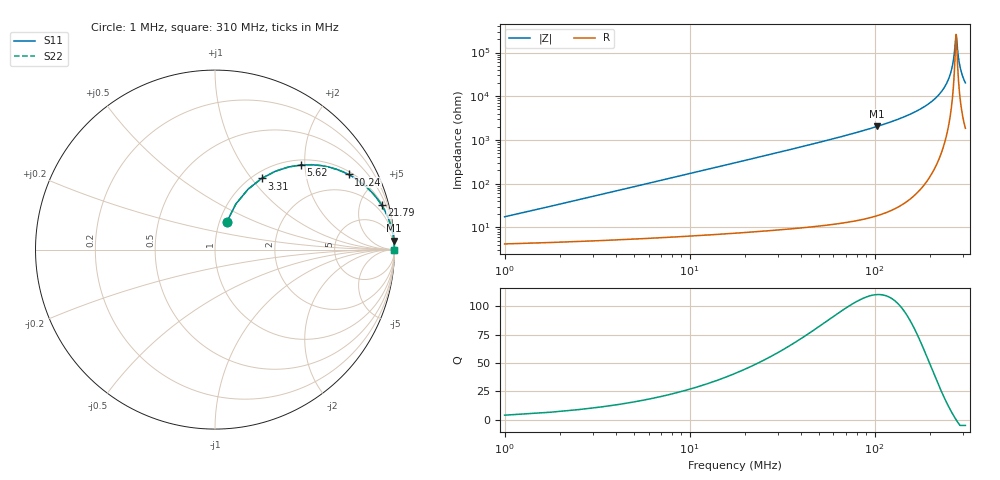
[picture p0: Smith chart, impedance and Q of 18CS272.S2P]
! Coilcraft 1812CS-272 Chip Inductor
! 31 July 2002
# MHZ S MA R 50
!Freq  MagS11  AngS11  MagS21  AngS21  MagS12  AngS12  MagS22  AngS22
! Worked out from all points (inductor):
!   403 points, 1 MHz to 310 MHz, reference 50 ohm
!   read as one part in series: L = 2.7 uH near 2.54 MHz
!   highest Q = 110 at 103.4 MHz (marker M1), where L = 3.14 uH
!   self-resonance near 275.9 MHz
!   S11 on the Smith chart (normalised r, x): 1 MHz: 1.08, +0.34; 3.31 MHz: 1.10, +1.12; 5.62 MHz: 1.11, +1.91; 10.24 MHz: 1.13, +3.48; 21.79 MHz: 1.16, +7.44; 310 MHz: open
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1  0.1655 66.9  0.9474 -9.2  0.9474 -9.2  0.1655 66.9
3.31  0.4736 56.8  0.8399 -28.1  0.8399 -28.1  0.4736 56.8
5.62  0.6717 44.6  0.703 -42.1  0.703 -42.1  0.6717 44.6
10.24  0.8538 29.3  0.4905 -58.6  0.4905 -58.6  0.8538 29.3
14.86  0.9213 21.4  0.3643 -67.1  0.3643 -67.1  0.9213 21.4
21.79  0.9607 15.0  0.2582 -73.8  0.2582 -73.8  0.9607 15.0
34.88  0.984 9.4  0.1636 -79.7  0.1636 -79.7  0.984 9.4
52.59  0.993 6.2  0.1073 -83.2  0.1073 -83.2  0.993 6.2
103.41  0.9984 2.8  0.04893 -86.7  0.04893 -86.7  0.9984 2.8
104.18  0.9984 2.8  0.04845 -86.7  0.04845 -86.7  0.9984 2.8
155.77  0.9994 1.5  0.02579 -87.9  0.02579 -87.9  0.9994 1.5
207.36  0.9996 0.7  0.0124 -87.9  0.0124 -87.9  0.9996 0.7
238.93  0.9997 0.4  0.006214 -86.6  0.006214 -86.6  0.9997 0.4
258.95  0.9996 0.2  0.002776 -82.5  0.002776 -82.5  0.9996 0.2
267.42  0.9996 0.1  0.001427 -75.0  0.001427 -75.0  0.9996 0.1
270.5  0.9996 0.1  0.0009653 -67.2  0.0009653 -67.2  0.9996 0.1
275.12  0.9996 0.0  0.000417 -23.7  0.000417 -23.7  0.9996 0.0
276.66  0.9996 -0.0  0.000391 10.4  0.000391 10.4  0.9996 -0.0
283.59  0.9996 -0.1  0.001194 70.5  0.001194 70.5  0.9996 -0.1
288.98  0.9996 -0.1  0.001972 77.9  0.001972 77.9  0.9996 -0.1
298.22  0.9996 -0.2  0.003302 82.4  0.003302 82.4  0.9996 -0.2
310  0.9995 -0.3  0.004955 84.5  0.004955 84.5  0.9995 -0.3
